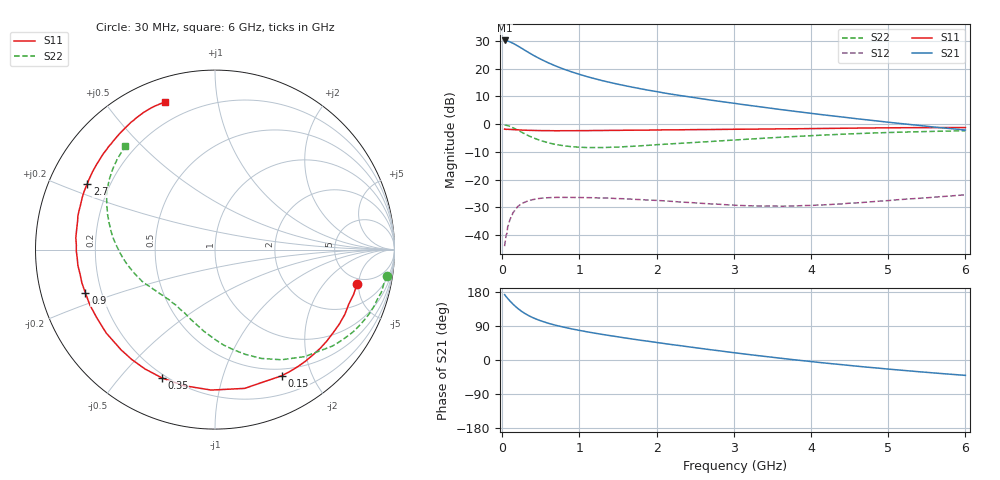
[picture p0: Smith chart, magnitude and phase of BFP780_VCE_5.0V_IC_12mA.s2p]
! Infineon Technologies  Discrete & RF Semiconductors
! BFP780
! VCE =  5.0 V,  IC =  12 mA
! Common Emitter S-Parameters:  Jul 2015
# GHz  S  MA  R  50
!  f  S11  S21  S12  S22
! GHz  MAG  ANG  MAG  ANG  MAG  ANG  MAG  ANG
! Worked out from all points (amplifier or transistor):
!   75 points, 30 MHz to 6 GHz, reference 50 ohm
!   highest |S21| = 30.2 dB at 30 MHz (marker M1)
!   |S21| within 3 dB of that: start of sweep to 261.5 MHz
!   unconditionally stable (mu >= 1): 2.522 GHz to end of sweep
!   at 150 MHz: K = 0.09, MSG = 30.3 dB, |S12| = -31.6 dB
!   at 2.3 GHz: K = 0.90, MSG = 19.2 dB, |S12| = -28.1 dB
!   at 6 GHz: K = 1.32, MAG = 8.3 dB, |S12| = -25.5 dB
!   S11 on the Smith chart (normalised r, x): 30 MHz: 4.24, -4.79; 150 MHz: 0.41, -1.59; 350 MHz: 0.18, -0.65; 900 MHz: 0.14, -0.16; 2.7 GHz: 0.12, +0.24; 6 GHz: 0.11, +0.71
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0.03  0.8146 -13.5  32.35 172.4  0.0063 66.3  0.9687 -8.6
0.05  0.805 -22.2  32.22 167.1  0.01 73.0  0.9572 -14.3
0.09  0.8046 -39.3  30.87 157.7  0.0174 65.6  0.9213 -24.9
0.11  0.8012 -47.2  30.01 153.2  0.0207 64.3  0.8982 -30.3
0.15  0.7954 -62.0  28.22 145.1  0.0264 55.5  0.8459 -39.5
0.2  0.7906 -78.0  25.77 136.2  0.0327 47.9  0.7782 -50.0
0.25  0.7829 -91.5  23.43 128.4  0.0369 41.1  0.7175 -58.8
0.3  0.7777 -102.9  21.23 121.9  0.0396 35.8  0.6594 -66.9
0.35  0.7736 -112.5  19.29 116.2  0.0421 31.1  0.6093 -73.6
0.4  0.7709 -120.4  17.55 111.3  0.0437 27.2  0.5684 -79.4
0.45  0.7681 -127.1  16.1 107.1  0.0451 23.8  0.5342 -84.8
0.6  0.7638 -142.6  12.7 96.7  0.0472 16.3  0.4599 -97.6
0.7  0.7604 -150.2  11.09 91.2  0.0478 12.5  0.4274 -104.5
0.9  0.7615 -161.5  8.758 82.1  0.0477 7.0  0.3913 -115.6
1.1  0.7641 -169.8  7.191 74.3  0.0473 2.9  0.3782 -124.8
1.5  0.773 178.0  5.253 61.1  0.0454 -2.9  0.3863 -138.5
2.1  0.7879 164.2  3.648 43.4  0.0413 -7.4  0.4339 -154.2
2.7  0.8004 152.8  2.717 27.1  0.0365 -6.7  0.4867 -168.3
3.1  0.8108 145.7  2.275 16.8  0.0341 -3.4  0.5276 -177.6
4.1  0.8351 130.1  1.507 -6.3  0.0348 9.9  0.6297 161.9
5.1  0.8618 117.5  1.048 -25.7  0.0431 16.6  0.7128 144.8
6  0.8684 108.6  0.783 -40.6  0.0531 15.5  0.7617 131.0
